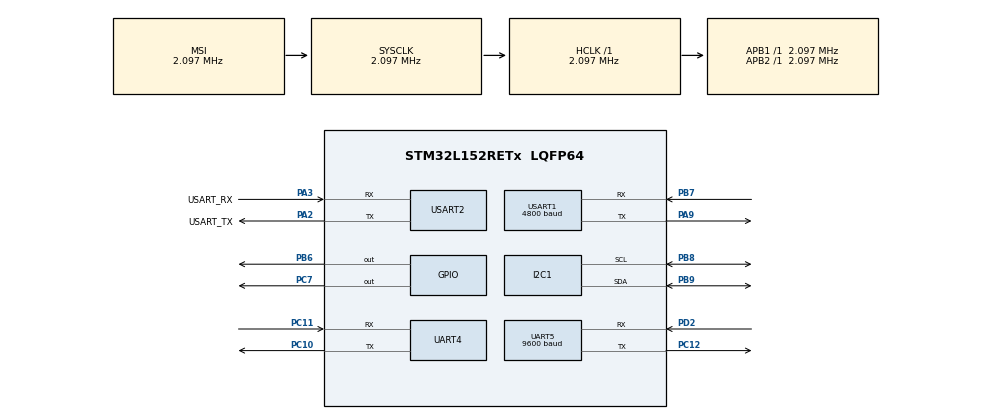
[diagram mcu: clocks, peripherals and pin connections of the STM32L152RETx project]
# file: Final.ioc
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Dma.Request0=UART4_RX
Dma.Request1=USART1_RX
Dma.UART4_RX.0.Direction=DMA_PERIPH_TO_MEMORY
Dma.UART4_RX.0.Instance=DMA2_Channel3
Dma.UART4_RX.0.MemDataAlignment=DMA_MDATAALIGN_BYTE
Dma.UART4_RX.0.MemInc=DMA_MINC_ENABLE
Dma.UART4_RX.0.Mode=DMA_NORMAL
Dma.UART4_RX.0.PeriphDataAlignment=DMA_PDATAALIGN_BYTE
Dma.UART4_RX.0.PeriphInc=DMA_PINC_DISABLE
Dma.UART4_RX.0.Priority=DMA_PRIORITY_LOW
Dma.USART1_RX.1.Direction=DMA_PERIPH_TO_MEMORY
Dma.USART1_RX.1.Instance=DMA1_Channel5
Dma.USART1_RX.1.MemDataAlignment=DMA_MDATAALIGN_BYTE
Dma.USART1_RX.1.MemInc=DMA_MINC_ENABLE
Dma.USART1_RX.1.Mode=DMA_NORMAL
Dma.USART1_RX.1.PeriphDataAlignment=DMA_PDATAALIGN_BYTE
Dma.USART1_RX.1.PeriphInc=DMA_PINC_DISABLE
Dma.USART1_RX.1.Priority=DMA_PRIORITY_LOW
Mcu.Family=STM32L1
Mcu.Name=STM32L152RETx
Mcu.Package=LQFP64
NVIC.DMA1_Channel5_IRQn=true\:0\:0\:false\:false\:true\:false
NVIC.DMA2_Channel3_IRQn=true\:0\:0\:false\:false\:true\:false
NVIC.I2C1_ER_IRQn=true\:0\:0\:false\:false\:true\:true
NVIC.I2C1_EV_IRQn=true\:0\:0\:false\:false\:true\:true
NVIC.PriorityGroup=NVIC_PRIORITYGROUP_0
NVIC.RTC_WKUP_IRQn=true\:0\:0\:false\:false\:true\:true
NVIC.UART4_IRQn=true\:0\:0\:false\:false\:true\:true
NVIC.UART5_IRQn=true\:0\:0\:false\:false\:true\:true
NVIC.USART1_IRQn=true\:0\:0\:false\:false\:true\:true
NVIC.USART2_IRQn=true\:0\:0\:false\:false\:true\:true
PA13.GPIO_Label=TMS
PA13.Signal=SYS_JTMS-SWDIO
PA14.GPIO_Label=TCK
PA14.Signal=SYS_JTCK-SWCLK
PA2.GPIO_Label=USART_TX
PA2.Mode=Asynchronous
PA2.Signal=USART2_TX
PA3.GPIO_Label=USART_RX
PA3.Mode=Asynchronous
PA3.Signal=USART2_RX
PA9.Mode=Asynchronous
PA9.Signal=USART1_TX
PB3.GPIO_Label=SWO
PB3.Signal=SYS_JTDO-TRACESWO
PB6.Signal=GPIO_Output
PB7.Mode=Asynchronous
PB7.Signal=USART1_RX
PB8.Mode=I2C
PB8.Signal=I2C1_SCL
PB9.Mode=I2C
PB9.Signal=I2C1_SDA
PC10.Mode=Asynchronous
PC10.Signal=UART4_TX
PC11.Mode=Asynchronous
PC11.Signal=UART4_RX
PC12.Mode=Asynchronous
PC12.Signal=UART5_TX
PC14-OSC32_IN.Signal=RCC_OSC32_IN
PC15-OSC32_OUT.Signal=RCC_OSC32_OUT
PC7.Signal=GPIO_Output
PD2.Mode=Asynchronous
PD2.Signal=UART5_RX
PH0-OSC_IN.Signal=RCC_OSC_IN
PH1-OSC_OUT.Signal=RCC_OSC_OUT
ProjectManager.HeapSize=0x200
ProjectManager.StackSize=0x400
ProjectManager.TargetToolchain=SW4STM32
RCC.48MHZClocksFreq_Value=48000000
RCC.AHBFreq_Value=2097000
RCC.APB1Freq_Value=2097000
RCC.APB1TimFreq_Value=2097000
RCC.APB2Freq_Value=2097000
RCC.APB2TimFreq_Value=2097000
RCC.HCLKFreq_Value=2097000
RCC.HSE_VALUE=8000000
RCC.HSI_VALUE=16000000
RCC.LSE_VALUE=32768
RCC.MSI_VALUE=2097000
RCC.PLLDIV=RCC_PLL_DIV3
RCC.PLLMUL=RCC_PLL_MUL6
RCC.RTCClockSelection=RCC_RTCCLKSOURCE_LSI
RCC.RTCClockSelectionVirtual=RCC_RTCCLKSOURCE_LSE
RCC.SYSCLKFreq_VALUE=2097000
RCC.USBOutput=48000000
RCC.VCOOutputFreq_Value=96000000
RTC.WakeUpCounter-WakeUp=23125
UART4.VirtualMode=Asynchronous
UART5.BaudRate=9600
UART5.VirtualMode=Asynchronous
USART1.BaudRate=4800
USART1.VirtualMode=VM_ASYNC
USART2.VirtualMode=VM_ASYNC
VP_RTC_VS_RTC_Activate.Mode=RTC_Enabled
VP_RTC_VS_RTC_Calendar.Mode=RTC_Calendar
VP_RTC_VS_RTC_WakeUp_intern.Mode=WakeUp
board=NUCLEO-L152RE

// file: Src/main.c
/**
  ******************************************************************************
  * File Name          : main.c
  * Description        : Main program body
  ******************************************************************************
  ** This notice applies to any and all portions of this file
  * that are not between comment pairs USER CODE BEGIN and
  * USER CODE END. Other portions of this file, whether
  * inserted by the user or by software development tools
  * are owned by their respective copyright owners.
  *
  * COPYRIGHT(c) 2018 STMicroelectronics
  *
  * Redistribution and use in source and binary forms, with or without modification,
  * are permitted provided that the following conditions are met:
  *   1. Redistributions of source code must retain the above copyright notice,
  *      this list of conditions and the following disclaimer.
  *   2. Redistributions in binary form must reproduce the above copyright notice,
  *      this list of conditions and the following disclaimer in the documentation
  *      and/or other materials provided with the distribution.
  *   3. Neither the name of STMicroelectronics nor the names of its contributors
  *      may be used to endorse or promote products derived from this software
  *      without specific prior written permission.
  *
  * THIS SOFTWARE IS PROVIDED BY THE COPYRIGHT HOLDERS AND CONTRIBUTORS "AS IS"
  * AND ANY EXPRESS OR IMPLIED WARRANTIES, INCLUDING, BUT NOT LIMITED TO, THE
  * IMPLIED WARRANTIES OF MERCHANTABILITY AND FITNESS FOR A PARTICULAR PURPOSE ARE
  * DISCLAIMED. IN NO EVENT SHALL THE COPYRIGHT HOLDER OR CONTRIBUTORS BE LIABLE
  * FOR ANY DIRECT, INDIRECT, INCIDENTAL, SPECIAL, EXEMPLARY, OR CONSEQUENTIAL
  * DAMAGES (INCLUDING, BUT NOT LIMITED TO, PROCUREMENT OF SUBSTITUTE GOODS OR
  * SERVICES; LOSS OF USE, DATA, OR PROFITS; OR BUSINESS INTERRUPTION) HOWEVER
  * CAUSED AND ON ANY THEORY OF LIABILITY, WHETHER IN CONTRACT, STRICT LIABILITY,
  * OR TORT (INCLUDING NEGLIGENCE OR OTHERWISE) ARISING IN ANY WAY OUT OF THE USE
  * OF THIS SOFTWARE, EVEN IF ADVISED OF THE POSSIBILITY OF SUCH DAMAGE.
  *
  ******************************************************************************
  */

#include "main.h"
#include "stm32l1xx_hal.h"

/* USER CODE BEGIN Includes */
#include <string.h>
#include <stdio.h>
#include <stdlib.h>
#include <math.h>
#include "enumerations.h"
#include "constants.h"
#include "structures.h"
#include "macros.h"
#define NSERDEBUG // comment to turn on serial debug over UART2
#define NCOMPASS // comment to turn on compass data retrieval
/* USER CODE END Includes */

I2C_HandleTypeDef hi2c1;

RTC_HandleTypeDef hrtc;

UART_HandleTypeDef huart4;
UART_HandleTypeDef huart5;
UART_HandleTypeDef huart1;
UART_HandleTypeDef huart2;
DMA_HandleTypeDef hdma_uart4_rx;
DMA_HandleTypeDef hdma_usart1_rx;

/* USER CODE BEGIN PV */
/* Private variables ---------------------------------------------------------*/
static volatile uint8_t TRANSMITTING = 0;
static int32_t hardIronFault[] = {0, 0, 0};

//Variables used for LoRaWAN

//Variables used for contextswitching
static volatile OutdoorSensorState outdoorSensorState = disabled;/**<contains the outdoor state*/
static volatile uint8_t dash7Cmd [101] = "";/**<buffer that can store 2 Dash7 commands*/
static volatile uint8_t D7DMABfr [101] = "";/**<buffer used to double buffer the Dash7 command*/

//Variables used for GPS and LoRaWAN
static volatile LoRaWANState loRaWANState = startup;/**<contains the LoRaWAN state*/
static char AT_return_code[7] = "";/**<buffer that stores the AT return codes from the LoRaWAN module*/
static uint8_t loRaWANSendCmdAndData[37] = "";/**<AT send cmd + LoRaWANGPSdata = 31 bytes (including null terminator)*/
static uint8_t LoRaWANGPSdata[27] = "00;00.0000|000;00.0000|0.0";/**<LoRaWAN GPS data latitude|longitude|HDOP*/
static volatile uint8_t loRaWANStateTransition = 0;/**<gets set to 1 when the LoRaWAN FSM may change state*/
static volatile uint8_t LoRaWAN10SecCnter = 0;/**<counts 10 seconds so flags can be set at other intervals eg 30, 60 seconds*/
static volatile uint8_t GPSdata[153] = "";/**<buffers raw GPS data, is as large as 2 whole commands*/
static volatile uint8_t GPSDMABfr[153] = "";/**<used to double buffer the raw GPS data*/
static volatile uint8_t GPSLock = 0;/**<used to prevent access when double buffer is being read*/
static volatile uint8_t GPSdataArrived = 0;/**<Set to 1 when raw GPS data is available */
static volatile uint8_t LoRaWANdataArrived = 0;/**<Set to 1 when a LoRaWAN return code is received*/
static volatile uint8_t D7dataArrived = 0;/**<Set to 1 when a command is received over Dash7*/
static volatile uint8_t enableGPS = 0;/**<Set to 1 when the GPS module may be enabled*/
static volatile uint8_t newLoRaWANData = 0;/**<Set to 1 when new, valid GPS data is parsed from the raw GPS data*/

/* USER CODE END PV */

void SystemClock_Config(void);
static void MX_GPIO_Init(void);
static void MX_DMA_Init(void);
static void MX_I2C1_Init(void);
static void MX_UART4_Init(void);
static void MX_UART5_Init(void);
static void MX_USART1_UART_Init(void);
static void MX_USART2_UART_Init(void);
static void MX_RTC_Init(void);

/* USER CODE BEGIN PFP */
/* Private function prototypes -----------------------------------------------*/
static int64_t twosComplementToSignedInteger(uint32_t rawValue,SignBitIndex sbi);
static uint8_t unsolicitedResponseTX(uint8_t* data, uint8_t dataLength);
static UnsolicitedResponseTail buildTail(UnsolicitedResponseType urt);
static UnsolicitedResponseTail mergeTails(UnsolicitedResponseTail firstTail,UnsolicitedResponseTail secondTail);
static CompassData getCompassData();
static BarometerData getBarometerData();
static MagnetometerData getMagnetometerData();
static AccelerometerData getAccelerometerData();
static void get_m_axes(int32_t *pData);
static void get_m_axes_raw(int16_t *pData);
static void get_a_axes(int32_t *pData);
static void get_a_axes_raw(int16_t *pData);
static void enterStopMode(uint32_t regulator);
static void enterSleepMode(uint32_t regulator);
static void getHardIronFault();
static uint8_t joinLoRaWANnetwork();
static uint8_t transmitLoRaWANData(uint8_t*);
static uint8_t verifyLoRaNetworkjoin();
static void outdoorSensorFSM();
static void uart1DMAConfig();
static void uart1DMAStart();
static void uart4DMAConfig();
static void uart4DMAStart();
static void GPSParsing();
static void LoRaWANParsing();
static void D7Parsing();
static void GPSState();
/* USER CODE END PFP */

int main(void)
{

  /* MCU Configuration----------------------------------------------------------*/

  /* Reset of all peripherals, Initializes the Flash interface and the Systick. */
  HAL_Init();

  /* Configure the system clock */
  SystemClock_Config();

  /* Initialize all configured peripherals */
  MX_GPIO_Init();
  MX_DMA_Init();
  MX_I2C1_Init();
  MX_UART4_Init();
  MX_UART5_Init();
  MX_USART1_UART_Init();
  MX_USART2_UART_Init();
  MX_RTC_Init();

  /* USER CODE BEGIN 2 */
#if defined(NCOMPASS) && defined(NSERDEBUG)
  HAL_UART_DeInit(&huart2);
#endif

  HAL_PWREx_EnableLowPowerRunMode();

  /* configure DMA for UART 1*/
  uart1DMAConfig();
  uart1DMAStart();
  uart4DMAConfig();
  uart4DMAStart();

  uint8_t REG_VALUE = LPS22HB_ODR_1HZ;
  HAL_I2C_Mem_Write(&hi2c1,LPS22HB_ADDR,LPS22HB_CTRL_REG1,I2C_MEMADD_SIZE_8BIT,&REG_VALUE,1,HAL_MAX_DELAY);
  while(HAL_I2C_IsDeviceReady(&hi2c1,LPS22HB_ADDR,1,HAL_MAX_DELAY) != HAL_OK);

  /*
   * In continuous mode the device continuously performs measurements and places the result
   * in the data register.The data-ready signal is generated when a new data set is ready to
   * be read. When the SOFT_RST bit is set, the configuration registers and user registers
   * are reset but flash registers keep their values. In idle mode, only I2C and SPI are active.
   * Furthermore we enable the low power mode.
   */
  REG_VALUE = LSM303_MAG_SOFT_RST | LSM303_MAG_LPEN | LSM303_MAG_ODR_10HZ | LSM303_MAG_MD_IDLE;
  HAL_I2C_Mem_Write(&hi2c1,LSM303_MAG_ADDR,LSM303_MAG_CFG_REGA,I2C_MEMADD_SIZE_8BIT,&REG_VALUE,1,HAL_MAX_DELAY);
  while (HAL_I2C_IsDeviceReady(&hi2c1,LSM303_MAG_ADDR,1,HAL_MAX_DELAY) != HAL_OK);

  REG_VALUE = LSM303_MAG_LPF;
  HAL_I2C_Mem_Write(&hi2c1,LSM303_MAG_ADDR,LSM303_MAG_CFG_REGB,I2C_MEMADD_SIZE_8BIT,&REG_VALUE,1,HAL_MAX_DELAY);
  while (HAL_I2C_IsDeviceReady(&hi2c1,LSM303_MAG_ADDR,1,HAL_MAX_DELAY) != HAL_OK);

  /*
   * If BDU is enabled, reading of incorrect data is avoided when the user reads asynchronously.
   * In fact if the read request arrives during an update of the output data, a latch is
   * possible, reading incoherent high and low parts of the same register. Only one part is
   * updated and the other one remains old.
   */
  REG_VALUE = LSM303_MAG_BDU;
  HAL_I2C_Mem_Write(&hi2c1,LSM303_MAG_ADDR,LSM303_MAG_CFG_REGC,I2C_MEMADD_SIZE_8BIT,&REG_VALUE,1,HAL_MAX_DELAY);
  while (HAL_I2C_IsDeviceReady(&hi2c1,LSM303_MAG_ADDR,1,HAL_MAX_DELAY) != HAL_OK);

  HAL_Delay(10); // ACC startup time < 5ms

  REG_VALUE = LSM303_ACC_PWR_DWN | LSM303_ACC_XYZEN | LSM303_ACC_LPEN;
  HAL_I2C_Mem_Write(&hi2c1,LSM303_ACC_ADDR,LSM303_ACC_CTRL_REG1,I2C_MEMADD_SIZE_8BIT,&REG_VALUE,1,HAL_MAX_DELAY);
  while (HAL_I2C_IsDeviceReady(&hi2c1,LSM303_ACC_ADDR,1,HAL_MAX_DELAY) != HAL_OK);

  REG_VALUE = LSM303_ACC_I1_DRDY2;
  HAL_I2C_Mem_Write(&hi2c1,LSM303_ACC_ADDR,LSM303_ACC_CTRL_REG3,I2C_MEMADD_SIZE_8BIT,&REG_VALUE,1,HAL_MAX_DELAY);
  while (HAL_I2C_IsDeviceReady(&hi2c1,LSM303_ACC_ADDR,1,HAL_MAX_DELAY) != HAL_OK);

  REG_VALUE = LSM303_ACC_BDU | LSM303_ACC_FS_2G;
  HAL_I2C_Mem_Write(&hi2c1,LSM303_ACC_ADDR,LSM303_ACC_CTRL_REG4,I2C_MEMADD_SIZE_8BIT,&REG_VALUE,1,HAL_MAX_DELAY);
  while (HAL_I2C_IsDeviceReady(&hi2c1,LSM303_ACC_ADDR,1,HAL_MAX_DELAY) != HAL_OK);

  REG_VALUE = LSM303_ACC_BOOT;
  HAL_I2C_Mem_Write(&hi2c1,LSM303_ACC_ADDR,LSM303_ACC_CTRL_REG5,I2C_MEMADD_SIZE_8BIT,&REG_VALUE,1,HAL_MAX_DELAY);
  while (HAL_I2C_IsDeviceReady(&hi2c1,LSM303_ACC_ADDR,1,HAL_MAX_DELAY) != HAL_OK);

  HAL_Delay(10); // wait for changes to take effect

#ifndef NCOMPASS
  getHardIronFault();
#endif
  /* USER CODE END 2 */

  /* Infinite loop */
  while (1)
  {

  /* USER CODE BEGIN 3 */
	  enterSleepMode(PWR_LOWPOWERREGULATOR_ON);
	  HAL_PWREx_EnableLowPowerRunMode();
#ifndef NSERDEBUG
	  HAL_UART_Transmit(&huart2, "looping...\r\n", strlen("looping...\r\n"), HAL_MAX_DELAY);
#endif
	  GPSParsing();
	  GPSState();
	  LoRaWANParsing();
	  D7Parsing();
	  outdoorSensorFSM();
	  if (TRANSMITTING) {
		  UnsolicitedResponseTail firstTail = buildTail(BAROMETER_FRAME);
		  UnsolicitedResponseTail secondTail = buildTail(MAGNETOMETER_FRAME);
		  UnsolicitedResponseTail thirdTail = buildTail(ACCELEROMETER_FRAME);
#ifndef NCOMPASS
		  UnsolicitedResponseTail fourthTail = buildTail(COMPASS_FRAME);
		  UnsolicitedResponseTail tail = mergeTails(mergeTails(firstTail,secondTail),mergeTails(thirdTail,fourthTail));
#else
		  UnsolicitedResponseTail tail = mergeTails(mergeTails(firstTail,secondTail),thirdTail);
#endif
		  unsolicitedResponseTX(tail.data,tail.dataLength);
		  TRANSMITTING = 0;
	  }
  }
  /* USER CODE END 3 */

}

/** System Clock Configuration
*/
void SystemClock_Config(void)
{

  RCC_OscInitTypeDef RCC_OscInitStruct;
  RCC_ClkInitTypeDef RCC_ClkInitStruct;
  RCC_PeriphCLKInitTypeDef PeriphClkInit;

    /**Configure the main internal regulator output voltage
    */
  __HAL_PWR_VOLTAGESCALING_CONFIG(PWR_REGULATOR_VOLTAGE_SCALE1);

    /**Initializes the CPU, AHB and APB busses clocks
    */
  RCC_OscInitStruct.OscillatorType = RCC_OSCILLATORTYPE_LSI|RCC_OSCILLATORTYPE_MSI;
  RCC_OscInitStruct.LSIState = RCC_LSI_ON;
  RCC_OscInitStruct.MSIState = RCC_MSI_ON;
  RCC_OscInitStruct.MSICalibrationValue = 0;
  RCC_OscInitStruct.MSIClockRange = RCC_MSIRANGE_5;
  RCC_OscInitStruct.PLL.PLLState = RCC_PLL_NONE;
  if (HAL_RCC_OscConfig(&RCC_OscInitStruct) != HAL_OK)
  {
    _Error_Handler(__FILE__, __LINE__);
  }

    /**Initializes the CPU, AHB and APB busses clocks
    */
  RCC_ClkInitStruct.ClockType = RCC_CLOCKTYPE_HCLK|RCC_CLOCKTYPE_SYSCLK
                              |RCC_CLOCKTYPE_PCLK1|RCC_CLOCKTYPE_PCLK2;
  RCC_ClkInitStruct.SYSCLKSource = RCC_SYSCLKSOURCE_MSI;
  RCC_ClkInitStruct.AHBCLKDivider = RCC_SYSCLK_DIV1;
  RCC_ClkInitStruct.APB1CLKDivider = RCC_HCLK_DIV1;
  RCC_ClkInitStruct.APB2CLKDivider = RCC_HCLK_DIV1;

  if (HAL_RCC_ClockConfig(&RCC_ClkInitStruct, FLASH_LATENCY_0) != HAL_OK)
  {
    _Error_Handler(__FILE__, __LINE__);
  }

  PeriphClkInit.PeriphClockSelection = RCC_PERIPHCLK_RTC;
  PeriphClkInit.RTCClockSelection = RCC_RTCCLKSOURCE_LSI;
  if (HAL_RCCEx_PeriphCLKConfig(&PeriphClkInit) != HAL_OK)
  {
    _Error_Handler(__FILE__, __LINE__);
  }

    /**Configure the Systick interrupt time
    */
  HAL_SYSTICK_Config(HAL_RCC_GetHCLKFreq()/1000);

    /**Configure the Systick
    */
  HAL_SYSTICK_CLKSourceConfig(SYSTICK_CLKSOURCE_HCLK);

  /* SysTick_IRQn interrupt configuration */
  HAL_NVIC_SetPriority(SysTick_IRQn, 0, 0);
}

/* I2C1 init function */
static void MX_I2C1_Init(void)
{

  hi2c1.Instance = I2C1;
  hi2c1.Init.ClockSpeed = 100000;
  hi2c1.Init.DutyCycle = I2C_DUTYCYCLE_2;
  hi2c1.Init.OwnAddress1 = 0;
  hi2c1.Init.AddressingMode = I2C_ADDRESSINGMODE_7BIT;
  hi2c1.Init.DualAddressMode = I2C_DUALADDRESS_DISABLE;
  hi2c1.Init.OwnAddress2 = 0;
  hi2c1.Init.GeneralCallMode = I2C_GENERALCALL_DISABLE;
  hi2c1.Init.NoStretchMode = I2C_NOSTRETCH_DISABLE;
  if (HAL_I2C_Init(&hi2c1) != HAL_OK)
  {
    _Error_Handler(__FILE__, __LINE__);
  }

}

/* RTC init function */
static void MX_RTC_Init(void)
{

  RTC_TimeTypeDef sTime;
  RTC_DateTypeDef sDate;

    /**Initialize RTC Only
    */
  hrtc.Instance = RTC;
  hrtc.Init.HourFormat = RTC_HOURFORMAT_24;
  hrtc.Init.AsynchPrediv = 127;
  hrtc.Init.SynchPrediv = 255;
  hrtc.Init.OutPut = RTC_OUTPUT_DISABLE;
  hrtc.Init.OutPutPolarity = RTC_OUTPUT_POLARITY_HIGH;
  hrtc.Init.OutPutType = RTC_OUTPUT_TYPE_OPENDRAIN;
  if (HAL_RTC_Init(&hrtc) != HAL_OK)
  {
    _Error_Handler(__FILE__, __LINE__);
  }

    /**Initialize RTC and set the Time and Date
    */
  if(HAL_RTCEx_BKUPRead(&hrtc, RTC_BKP_DR0) != 0x32F2){
  sTime.Hours = 0x0;
  sTime.Minutes = 0x0;
  sTime.Seconds = 0x0;
  sTime.DayLightSaving = RTC_DAYLIGHTSAVING_NONE;
  sTime.StoreOperation = RTC_STOREOPERATION_RESET;
  if (HAL_RTC_SetTime(&hrtc, &sTime, RTC_FORMAT_BCD) != HAL_OK)
  {
    _Error_Handler(__FILE__, __LINE__);
  }

  sDate.WeekDay = RTC_WEEKDAY_MONDAY;
  sDate.Month = RTC_MONTH_JANUARY;
  sDate.Date = 0x1;
  sDate.Year = 0x0;

  if (HAL_RTC_SetDate(&hrtc, &sDate, RTC_FORMAT_BCD) != HAL_OK)
  {
    _Error_Handler(__FILE__, __LINE__);
  }

    HAL_RTCEx_BKUPWrite(&hrtc,RTC_BKP_DR0,0x32F2);
  }
    /**Enable the WakeUp
    */
  if (HAL_RTCEx_SetWakeUpTimer_IT(&hrtc, 23125, RTC_WAKEUPCLOCK_RTCCLK_DIV16) != HAL_OK)
  {
    _Error_Handler(__FILE__, __LINE__);
  }

}

/* UART4 init function */
static void MX_UART4_Init(void)
{

  huart4.Instance = UART4;
  huart4.Init.BaudRate = 115200;
  huart4.Init.WordLength = UART_WORDLENGTH_8B;
  huart4.Init.StopBits = UART_STOPBITS_1;
  huart4.Init.Parity = UART_PARITY_NONE;
  huart4.Init.Mode = UART_MODE_TX_RX;
  huart4.Init.HwFlowCtl = UART_HWCONTROL_NONE;
  huart4.Init.OverSampling = UART_OVERSAMPLING_16;
  if (HAL_UART_Init(&huart4) != HAL_OK)
  {
    _Error_Handler(__FILE__, __LINE__);
  }

}

/* UART5 init function */
static void MX_UART5_Init(void)
{

  huart5.Instance = UART5;
  huart5.Init.BaudRate = 9600;
  huart5.Init.WordLength = UART_WORDLENGTH_8B;
  huart5.Init.StopBits = UART_STOPBITS_1;
  huart5.Init.Parity = UART_PARITY_NONE;
  huart5.Init.Mode = UART_MODE_TX_RX;
  huart5.Init.HwFlowCtl = UART_HWCONTROL_NONE;
  huart5.Init.OverSampling = UART_OVERSAMPLING_16;
  if (HAL_UART_Init(&huart5) != HAL_OK)
  {
    _Error_Handler(__FILE__, __LINE__);
  }

}

/* USART1 init function */
static void MX_USART1_UART_Init(void)
{

  huart1.Instance = USART1;
  huart1.Init.BaudRate = 4800;
  huart1.Init.WordLength = UART_WORDLENGTH_8B;
  huart1.Init.StopBits = UART_STOPBITS_1;
  huart1.Init.Parity = UART_PARITY_NONE;
  huart1.Init.Mode = UART_MODE_TX_RX;
  huart1.Init.HwFlowCtl = UART_HWCONTROL_NONE;
  huart1.Init.OverSampling = UART_OVERSAMPLING_16;
  if (HAL_UART_Init(&huart1) != HAL_OK)
  {
    _Error_Handler(__FILE__, __LINE__);
  }

}

/* USART2 init function */
static void MX_USART2_UART_Init(void)
{

  huart2.Instance = USART2;
  huart2.Init.BaudRate = 115200;
  huart2.Init.WordLength = UART_WORDLENGTH_8B;
  huart2.Init.StopBits = UART_STOPBITS_1;
  huart2.Init.Parity = UART_PARITY_NONE;
  huart2.Init.Mode = UART_MODE_TX_RX;
  huart2.Init.HwFlowCtl = UART_HWCONTROL_NONE;
  huart2.Init.OverSampling = UART_OVERSAMPLING_16;
  if (HAL_UART_Init(&huart2) != HAL_OK)
  {
    _Error_Handler(__FILE__, __LINE__);
  }

}

static void MX_DMA_Init(void)
{
  /* DMA controller clock enable */
  __HAL_RCC_DMA2_CLK_ENABLE();
  __HAL_RCC_DMA1_CLK_ENABLE();

  /* DMA interrupt init */
  /* DMA1_Channel5_IRQn interrupt configuration */
  HAL_NVIC_SetPriority(DMA1_Channel5_IRQn, 0, 0);
  HAL_NVIC_EnableIRQ(DMA1_Channel5_IRQn);
  /* DMA2_Channel3_IRQn interrupt configuration */
  HAL_NVIC_SetPriority(DMA2_Channel3_IRQn, 0, 0);
  HAL_NVIC_EnableIRQ(DMA2_Channel3_IRQn);

}

/** Configure pins as
        * Analog
        * Input
        * Output
        * EVENT_OUT
        * EXTI
        * Free pins are configured automatically as Analog (this feature is enabled through
        * the Code Generation settings)
*/
static void MX_GPIO_Init(void)
{

  GPIO_InitTypeDef GPIO_InitStruct;

  /* GPIO Ports Clock Enable */
  __HAL_RCC_GPIOC_CLK_ENABLE();
  __HAL_RCC_GPIOH_CLK_ENABLE();
  __HAL_RCC_GPIOA_CLK_ENABLE();
  __HAL_RCC_GPIOB_CLK_ENABLE();
  __HAL_RCC_GPIOD_CLK_ENABLE();

  /*Configure GPIO pin Output Level */
  HAL_GPIO_WritePin(GPIOC, GPIO_PIN_7, GPIO_PIN_RESET);

  /*Configure GPIO pin Output Level */
  HAL_GPIO_WritePin(GPIOB, GPIO_PIN_6, GPIO_PIN_RESET);

  /*Configure GPIO pins : PC13 PC0 PC1 PC2
                           PC3 PC4 PC5 PC6
                           PC8 PC9 */
  GPIO_InitStruct.Pin = GPIO_PIN_13|GPIO_PIN_0|GPIO_PIN_1|GPIO_PIN_2
                          |GPIO_PIN_3|GPIO_PIN_4|GPIO_PIN_5|GPIO_PIN_6
                          |GPIO_PIN_8|GPIO_PIN_9;
  GPIO_InitStruct.Mode = GPIO_MODE_ANALOG;
  GPIO_InitStruct.Pull = GPIO_NOPULL;
  HAL_GPIO_Init(GPIOC, &GPIO_InitStruct);

  /*Configure GPIO pins : PA0 PA1 PA4 PA5
                           PA6 PA7 PA8 PA10
                           PA11 PA12 PA15 */
  GPIO_InitStruct.Pin = GPIO_PIN_0|GPIO_PIN_1|GPIO_PIN_4|GPIO_PIN_5
                          |GPIO_PIN_6|GPIO_PIN_7|GPIO_PIN_8|GPIO_PIN_10
                          |GPIO_PIN_11|GPIO_PIN_12|GPIO_PIN_15;
  GPIO_InitStruct.Mode = GPIO_MODE_ANALOG;
  GPIO_InitStruct.Pull = GPIO_NOPULL;
  HAL_GPIO_Init(GPIOA, &GPIO_InitStruct);

  /*Configure GPIO pins : PB0 PB1 PB2 PB10
                           PB11 PB12 PB13 PB14
                           PB15 PB4 PB5 */
  GPIO_InitStruct.Pin = GPIO_PIN_0|GPIO_PIN_1|GPIO_PIN_2|GPIO_PIN_10
                          |GPIO_PIN_11|GPIO_PIN_12|GPIO_PIN_13|GPIO_PIN_14
                          |GPIO_PIN_15|GPIO_PIN_4|GPIO_PIN_5;
  GPIO_InitStruct.Mode = GPIO_MODE_ANALOG;
  GPIO_InitStruct.Pull = GPIO_NOPULL;
  HAL_GPIO_Init(GPIOB, &GPIO_InitStruct);

  /*Configure GPIO pin : PC7 */
  GPIO_InitStruct.Pin = GPIO_PIN_7;
  GPIO_InitStruct.Mode = GPIO_MODE_OUTPUT_PP;
  GPIO_InitStruct.Pull = GPIO_NOPULL;
  GPIO_InitStruct.Speed = GPIO_SPEED_FREQ_LOW;
  HAL_GPIO_Init(GPIOC, &GPIO_InitStruct);

  /*Configure GPIO pin : PB6 */
  GPIO_InitStruct.Pin = GPIO_PIN_6;
  GPIO_InitStruct.Mode = GPIO_MODE_OUTPUT_PP;
  GPIO_InitStruct.Pull = GPIO_NOPULL;
  GPIO_InitStruct.Speed = GPIO_SPEED_FREQ_LOW;
  HAL_GPIO_Init(GPIOB, &GPIO_InitStruct);

}

/* USER CODE BEGIN 4 */
/**
 * @brief Sets the global hard iron offset.
 *
 * In order to get the hard iron offset you need to perform a pretzel
 * like motion with the LSM303 sensor in order to cover as much points
 * in space as possible.
 */
static void getHardIronFault() {
	int32_t mag_temp[3] = {0, 0, 0};
	int32_t mag_max[3] = {-2147483647, -2147483647, -2147483647};
	int32_t mag_min[3] = {2147483647, 2147483647, 2147483647};

	// start calibration by pressing s key
	uint8_t temp[1];
	do
		HAL_UART_Receive(&huart2,temp,1,HAL_MAX_DELAY);
	while (*temp != 0x73);

	char message[255];
	sprintf(message, "Calibration started.\r\n");
	HAL_UART_Transmit(&huart2, (uint8_t *) message, strlen(message), HAL_MAX_DELAY);

	for(uint16_t i = 0; i < 300; ++i) {
		get_m_axes(mag_temp);
		for (int j = 0; j < 3; ++j) {
			if(mag_temp[j] > mag_max[j]) mag_max[j] = mag_temp[j];
			if(mag_temp[j] < mag_min[j]) mag_min[j] = mag_temp[j];
		}
		HAL_Delay(100);
	}

	hardIronFault[X] = (mag_max[X] + mag_min[X]) / 2;
	hardIronFault[Y] = (mag_max[Y] + mag_min[Y]) / 2;
	hardIronFault[Z] = (mag_max[Z] + mag_min[Z]) / 2;

	sprintf(message, "Calibration is done!\r\n");
	HAL_UART_Transmit(&huart2, (uint8_t *) message, strlen(message), HAL_MAX_DELAY);

#ifdef NSERDEBUG
	HAL_UART_DeInit(&huart2);
#endif
}

/**
 * @brief Transmit an unsolicited response over the D7 interface.
 *
 * In order to transmit a message over the D7 RF link a serial frame is built
 * containing all necessary information for the receiving D7 modem in order
 * to propagate (a part of) said frame over the D7 RF link.
 *
 * @param data Pointer to data buffer, will be freed.
 * @param dataLength Amount of bytes in data buffer.
 * @return Returns 1 if successful and 0 otherwise.
 */
static uint8_t unsolicitedResponseTX(uint8_t* data, uint8_t dataLength) {
	if ((dataLength + 1 + sizeof(UNSOLICITED_RESPONSE_BASE)) <= MESSAGE_MAX_LEN) {
		// Memory allocated with malloc never loses scope until forcefully freed or program termination occurs.
		uint8_t* unsollicitedResponse = (uint8_t*) malloc((dataLength + 1 + sizeof(UNSOLICITED_RESPONSE_BASE)) * sizeof(uint8_t));

		/*
		 * UNSOLICITED_RESPONSE_BASE is a pointer to a memory location for a partially fixed
		 * preamble that is the same for all unsolicited responses. Only the ALP cmd length
		 * byte needs to be modified to accommodate the yet unknown data length. The cmd length
		 * byte is the sixth byte, hence the ternary operator. 0x0B is the length of the remaining
		 * preamble bytes and 1 byte is needed for the data length byte.
		 */
		for (uint8_t i = 0; i < sizeof(UNSOLICITED_RESPONSE_BASE); ++i)
			unsollicitedResponse[i] = ((i == 6) ? (0x0B + 1 + dataLength) : (UNSOLICITED_RESPONSE_BASE[i]));

		// set the datalength byte
		unsollicitedResponse[sizeof(UNSOLICITED_RESPONSE_BASE)] = dataLength;

		// fill the remaining bytes with data
		for (uint8_t i = 0; i < dataLength; ++i)
			unsollicitedResponse[sizeof(UNSOLICITED_RESPONSE_BASE) + 1 + i] = data[i];
		free(data);

		HAL_UART_Transmit(&huart4, unsollicitedResponse, dataLength + 1 + sizeof(UNSOLICITED_RESPONSE_BASE),HAL_MAX_DELAY);
		free(unsollicitedResponse);

		return 1;
	}
	return 0;
}

/**
 * @brief Builds a frame tail.
 *
 * Since the preamble of an unsollicited response is always identical (except for the
 * ALP cmd length byte) one can simply add a different tail to the preamble. In order
 * to do that several types of frames where defined.
 *
 * @param urt Enumeration indicating the frame (tail) type.
 * @return Returns a frame tail structure containing data and length.
 * @note The data pointer needs to be freed after transmission.
 */
static UnsolicitedResponseTail buildTail(UnsolicitedResponseType urt) {
	/*
	 * Memory allocated with malloc never loses scope until it is forcefully freed using
	 * the free function or when the program terminates. Therefore a pointer to this memory
	 * location is passed as a return value so it can be freed later (after use).
	 */
	uint8_t* data = (uint8_t*) malloc((MESSAGE_MAX_LEN - sizeof(UNSOLICITED_RESPONSE_BASE)) * sizeof(uint8_t));
	uint8_t dataLength = 0;
	UnsolicitedResponseTail tail = {data,dataLength};
	int32_t magData[3];
	int32_t accData[3];
	double compData[3];
	BarometerData barometerData;
	MagnetometerData magnetometerData;
	AccelerometerData accelerometerData;
	CompassData compassData;

	switch (urt) {
		case FLOOD_FRAME:
			dataLength = sizeof(FLOOD_TAIL);
			realloc(data,dataLength);
			memcpy(data,FLOOD_TAIL,dataLength);
			break;
		case COMPASS_FRAME:
			compassData = getCompassData();
			compData[0] = compassData.pitch;
			compData[1] = compassData.roll;
			compData[2] = compassData.yaw;
			dataLength = sizeof(compData);
			realloc(data,dataLength);
			memcpy(data,compData,dataLength);
			break;
		case BAROMETER_FRAME:
			barometerData = getBarometerData();
			dataLength = sizeof(barometerData.pressure);
			realloc(data,dataLength);
			memcpy(data,&barometerData.pressure,dataLength);
			break;
		case MAGNETOMETER_FRAME:
			magnetometerData = getMagnetometerData();
			magData[0] = magnetometerData.xValue;
			magData[1] = magnetometerData.yValue;
			magData[2] = magnetometerData.zValue;
			dataLength = sizeof(magData);
			realloc(data,dataLength);
			memcpy(data,magData,dataLength);
			break;
		case ACCELEROMETER_FRAME:
			accelerometerData = getAccelerometerData();
			accData[0] = accelerometerData.xValue;
			accData[1] = accelerometerData.yValue;
			accData[2] = accelerometerData.zValue;
			dataLength = sizeof(accData);
			realloc(data,dataLength);
			memcpy(data,accData,dataLength);
			break;
		case TEMPERATURE_FRAME:
			barometerData = getBarometerData();
			dataLength = sizeof(barometerData.temperature);
			realloc(data,dataLength);
			memcpy(data,&barometerData.temperature,dataLength);
			break;
		default:
			break;
	}
	tail.data = data;
	tail.dataLength = dataLength;
	return tail;
}

/**
 * @brief Merges two frame tails and returns a new one.
 */
static UnsolicitedResponseTail mergeTails(UnsolicitedResponseTail firstTail,UnsolicitedResponseTail secondTail) {
	UnsolicitedResponseTail tempTail;
	// memory allocated with malloc never loses scope until it is forcefully freed
	uint8_t* tempData = malloc((firstTail.dataLength+1+secondTail.dataLength));
	memcpy(tempData,firstTail.data,firstTail.dataLength);
	memcpy(tempData+firstTail.dataLength,&TAIL_SEPARATOR,1);
	memcpy(tempData+firstTail.dataLength+1,secondTail.data,secondTail.dataLength);
	free(firstTail.data);
	free(secondTail.data);
	tempTail.data = tempData;
	tempTail.dataLength = firstTail.dataLength+1+secondTail.dataLength;
	return tempTail;
}

/**
 * @brief Converts a two's complement number to a signed integer.
 * @param sbi Position of sign bit in @p rawValue
 * @param rawValue Unsigned integer containing two's complement number.
 * @return Returns a signed integer.
 */
int64_t twosComplementToSignedInteger(uint32_t rawValue,SignBitIndex sbi) {
	switch (sbi) {
		case TWOS_COMPLEMENT_24_BIT:
		{
			if ((rawValue & 0x00800000) == 0)
				return (rawValue & 0x00FFFFFF);
			return ((int64_t)(~((rawValue & 0x00FFFFFF) - 1))) * -1;
		}
		case TWOS_COMPLEMENT_16_BIT:
		{
			if ((rawValue & 0x00008000) == 0)
				return (rawValue & 0x0000FFFF);
			return ((int64_t)(~((rawValue & 0x0000FFFF) - 1))) * -1;
		}
		default:
			return NAN;
	}
}

/**
 * @brief Get pressure and temperature data from LPS22HB barometer.
 */
static BarometerData getBarometerData() {
	uint8_t rawSensorData[5];
	BarometerData barometerData;
	HAL_I2C_Mem_Read(&hi2c1,0xBA,0x28,I2C_MEMADD_SIZE_8BIT,rawSensorData,5,HAL_MAX_DELAY);

	uint32_t pressureTwosComplement = (rawSensorData[2] << 16) | (rawSensorData[1] << 8) | rawSensorData[0];
	int64_t pressureRaw = twosComplementToSignedInteger(pressureTwosComplement,TWOS_COMPLEMENT_24_BIT);
	barometerData.pressure = (int32_t)(pressureRaw/4096);

	uint32_t temperatureTwosComplement = (rawSensorData[4] << 8) | rawSensorData[3];
	int64_t temperatureRaw = twosComplementToSignedInteger(temperatureTwosComplement,TWOS_COMPLEMENT_16_BIT);
	barometerData.temperature = (int32_t)(temperatureRaw/100);

	return barometerData;
}

/**
 * @brief Get yaw, pitch and roll from compass.
 * @note Although mostly complete, this code is still very much under construction.
 */
static CompassData getCompassData() {
	double temp[] = {0.0,0.0,0.0};
	int32_t magData[] = {0,0,0};
	int32_t accData[] = {0,0,0};
	MagnetometerData magnetometerData;
	AccelerometerData accelerometerData;
	CompassData compassData;
	double pitch = 0;
	double roll = 0;
	double yaw = 0;
	double degrees = 0;

	accelerometerData = getAccelerometerData();
	accData[0] = accelerometerData.xValue;
	accData[1] = accelerometerData.yValue;
	accData[2] = accelerometerData.zValue;

	magnetometerData = getMagnetometerData();
	magData[0] = magnetometerData.xValue;
	magData[1] = magnetometerData.yValue;
	magData[2] = magnetometerData.zValue;

	roll = atan2((float)accData[Y],accData[Z]); // phi
	temp[0] = magData[Y] * cos(roll) - magData[Z] * sin(roll);
	temp[1] = magData[Y] * sin(roll) + magData[Z] * cos(roll);
	temp[2] = accData[Y] * sin(roll) + accData[Z] * cos(roll);
	//pitch = atan((-1 * accData[X]) / temp[2]); // theta
	pitch = atan2(accData[X] , temp[2]); // theta

#ifndef NSERDEBUG
	char message[255];
	sprintf(message, "Pitch: %6lf\t Roll: %6lf\r\n", pitch, roll);
	HAL_UART_Transmit(&huart2, (uint8_t *) message, strlen(message), HAL_MAX_DELAY);
#endif

	//Determining the compass heading
	temp[2] = magData[X] * cos(pitch) + temp[1] * sin(pitch);
	temp[1] = (-1 * magData[X]) * sin(pitch) + temp[1] * cos(pitch);
	yaw = atan2(-1 * temp[0], temp[2]); // psi
	degrees = yaw * 57.2958; // 180/PI = 57.2958

#ifndef NSERDEBUG
	//Obtaining wind direction
	if(degrees > 360) degrees -= 360;
	if(degrees < 0) degrees += 360;

	sprintf(message, "Degrees: %6lf\r\n", degrees);
	HAL_UART_Transmit(&huart2, (uint8_t *) message, strlen(message), HAL_MAX_DELAY);

	// every 45� degrees indicates another direction
	if(degrees > 22.5 && degrees < 67.5)
		sprintf(message, "Direction: North-East\r\n");
	else if(degrees > 67.5 && degrees < 112.5)
		sprintf(message, "Direction: East\r\n");
	else if(degrees > 112.5 && degrees < 157.5)
		sprintf(message, "Direction: South-East\r\n");
	else if(degrees > 157.5 && degrees < 202.5)
		sprintf(message, "Direction: South\r\n");
	else if(degrees > 202.5 && degrees < 247.5)
		sprintf(message, "Direction: South-West\r\n");
	else if(degrees > 247.5 && degrees < 292.5)
		sprintf(message, "Direction: West\r\n");
	else if(degrees > 292.5 && degrees < 337.25)
		sprintf(message, "Direction: North-West\r\n");
	else if(degrees > 337.25 || degrees < 22.5)
		sprintf(message, "Direction: North\r\n");

	HAL_UART_Transmit(&huart2, (uint8_t *) message, strlen(message), HAL_MAX_DELAY);
#endif

	compassData.pitch = pitch;
	compassData.roll = roll;
	compassData.yaw = yaw;
	return compassData;
}

/**
 * @brief Get compensated data from magnetometer
 *
 * If the hard iron fault was previously set using the appropriate function
 * the data obtained will be automatically compensated with said offsets.
 * Otherwise an offset of 0 is deducted, which equals no correction.
 */
static MagnetometerData getMagnetometerData() {
	int32_t axes_m[3];
	get_m_axes(axes_m);
	MagnetometerData magnetometerData;
	magnetometerData.xValue = axes_m[0] - hardIronFault[X];
	magnetometerData.yValue = axes_m[1] - hardIronFault[Y];
	magnetometerData.zValue = axes_m[2] - hardIronFault[Z];
	return magnetometerData;
}

/**
 * @brief Get data from accelerometer.
 */
static AccelerometerData getAccelerometerData() {
	int32_t axes_a[3];
	get_a_axes(axes_a);
	AccelerometerData accelerometerData;
	accelerometerData.xValue = axes_a[0];
	accelerometerData.yValue = axes_a[1];
	accelerometerData.zValue = axes_a[2];
	return accelerometerData;
}

/**
 * @brief Get signed and uncompensated axes data from magnetometer.
 * @param pData Pointer to memory location to which the signed axes data is to be written.
 */
static void get_m_axes(int32_t *pData) {
	int16_t pDataRaw[3];

	get_m_axes_raw(pDataRaw);

	// multiply by 1.5 through addition and shift right
	pData[0] = (int32_t) (pDataRaw[0] + (pDataRaw[0] >> 1));
	pData[1] = (int32_t) (pDataRaw[1] + (pDataRaw[1] >> 1));
	pData[2] = (int32_t) (pDataRaw[2] + (pDataRaw[2] >> 1));
}

/**
 * @brief Get raw access data in twos complement
 * @param pData Pointer to memory location to which the raw axes data is to be written.
 */
static void get_m_axes_raw(int16_t *pData) {
	uint8_t status[1];
	uint8_t regValue[6] = {[0 ... 5] = 0};
	int16_t *regValueInt16;

	// turn on magnetometer
	uint8_t REG_VALUE = LSM303_MAG_LPEN | LSM303_MAG_ODR_10HZ | LSM303_MAG_MD_CON;
	HAL_I2C_Mem_Write(&hi2c1,LSM303_MAG_ADDR,LSM303_MAG_CFG_REGA,I2C_MEMADD_SIZE_8BIT,&REG_VALUE,1,HAL_MAX_DELAY);
	while (HAL_I2C_IsDeviceReady(&hi2c1,LSM303_MAG_ADDR,1,HAL_MAX_DELAY) != HAL_OK);

	// wait until new data is available
	do
		HAL_I2C_Mem_Read(&hi2c1,LSM303_MAG_ADDR,LSM303_MAG_SREG,I2C_MEMADD_SIZE_8BIT,status,1,100);
	while(!CHECK_BIT(*status,LSM303_MAG_XYZDA));

	// turn off magnetometer
	REG_VALUE = LSM303_MAG_LPEN | LSM303_MAG_ODR_10HZ | LSM303_MAG_MD_IDLE;
	HAL_I2C_Mem_Write(&hi2c1,LSM303_MAG_ADDR,LSM303_MAG_CFG_REGA,I2C_MEMADD_SIZE_8BIT,&REG_VALUE,1,HAL_MAX_DELAY);
	while (HAL_I2C_IsDeviceReady(&hi2c1,LSM303_MAG_ADDR,1,HAL_MAX_DELAY) != HAL_OK);

	// read registers
	HAL_I2C_Mem_Read(&hi2c1,LSM303_MAG_ADDR,LSM303_MAG_X_L,I2C_MEMADD_SIZE_8BIT,&regValue[0],1,100);
	HAL_I2C_Mem_Read(&hi2c1,LSM303_MAG_ADDR,LSM303_MAG_X_H,I2C_MEMADD_SIZE_8BIT,&regValue[1],1,100);
	HAL_I2C_Mem_Read(&hi2c1,LSM303_MAG_ADDR,LSM303_MAG_Y_L,I2C_MEMADD_SIZE_8BIT,&regValue[2],1,100);
	HAL_I2C_Mem_Read(&hi2c1,LSM303_MAG_ADDR,LSM303_MAG_Y_H,I2C_MEMADD_SIZE_8BIT,&regValue[3],1,100);
	HAL_I2C_Mem_Read(&hi2c1,LSM303_MAG_ADDR,LSM303_MAG_Z_L,I2C_MEMADD_SIZE_8BIT,&regValue[4],1,100);
	HAL_I2C_Mem_Read(&hi2c1,LSM303_MAG_ADDR,LSM303_MAG_Z_H,I2C_MEMADD_SIZE_8BIT,&regValue[5],1,100);

	regValueInt16 = (int16_t *)regValue;

	pData[0] = regValueInt16[0];
	pData[1] = regValueInt16[1];
	pData[2] = regValueInt16[2];
}

static void get_a_axes(int32_t *pData) {
	int16_t pDataRaw[3];

	get_a_axes_raw(pDataRaw);

	pData[0] = (int32_t) (((pDataRaw[0] >> 8) * LSM303_ACC_SENSITIVITY[2][0] + 500) / 1000);
	pData[1] = (int32_t) (((pDataRaw[1] >> 8) * LSM303_ACC_SENSITIVITY[2][0] + 500) / 1000);
	pData[2] = (int32_t) (((pDataRaw[2] >> 8) * LSM303_ACC_SENSITIVITY[2][0] + 500) / 1000);
}

static void get_a_axes_raw(int16_t *pData) {
	uint8_t status[1];
	uint8_t regValue[6] = {[0 ... 5] = 0};
	int16_t regValueInt16[3] = {[0 ... 2] = 0};

	// turn on accelerometer
	uint8_t REG_VALUE = LSM303_ACC_ODR_1HZ | LSM303_ACC_XYZEN | LSM303_ACC_LPEN;
	HAL_I2C_Mem_Write(&hi2c1,LSM303_ACC_ADDR,LSM303_ACC_CTRL_REG1,I2C_MEMADD_SIZE_8BIT,&REG_VALUE,1,HAL_MAX_DELAY);
	while (HAL_I2C_IsDeviceReady(&hi2c1,LSM303_ACC_ADDR,1,HAL_MAX_DELAY) != HAL_OK);

	do
		HAL_I2C_Mem_Read(&hi2c1,LSM303_ACC_ADDR,LSM303_ACC_SREG,I2C_MEMADD_SIZE_8BIT,status,1,100);
	while(!CHECK_BIT(*status,LSM303_ACC_XYZDA));

	// turn off accelerometer
	REG_VALUE = LSM303_ACC_PWR_DWN | LSM303_ACC_XYZEN | LSM303_ACC_LPEN;
	HAL_I2C_Mem_Write(&hi2c1,LSM303_ACC_ADDR,LSM303_ACC_CTRL_REG1,I2C_MEMADD_SIZE_8BIT,&REG_VALUE,1,HAL_MAX_DELAY);
	while (HAL_I2C_IsDeviceReady(&hi2c1,LSM303_ACC_ADDR,1,HAL_MAX_DELAY) != HAL_OK);

	HAL_I2C_Mem_Read(&hi2c1,LSM303_ACC_ADDR,LSM303_ACC_X_L,I2C_MEMADD_SIZE_8BIT,&regValue[0],1,100);
	HAL_I2C_Mem_Read(&hi2c1,LSM303_ACC_ADDR,LSM303_ACC_X_H,I2C_MEMADD_SIZE_8BIT,&regValue[1],1,100);
	HAL_I2C_Mem_Read(&hi2c1,LSM303_ACC_ADDR,LSM303_ACC_Y_L,I2C_MEMADD_SIZE_8BIT,&regValue[2],1,100);
	HAL_I2C_Mem_Read(&hi2c1,LSM303_ACC_ADDR,LSM303_ACC_Y_H,I2C_MEMADD_SIZE_8BIT,&regValue[3],1,100);
	HAL_I2C_Mem_Read(&hi2c1,LSM303_ACC_ADDR,LSM303_ACC_Z_L,I2C_MEMADD_SIZE_8BIT,&regValue[4],1,100);
	HAL_I2C_Mem_Read(&hi2c1,LSM303_ACC_ADDR,LSM303_ACC_Z_H,I2C_MEMADD_SIZE_8BIT,&regValue[5],1,100);

	regValueInt16[0] = (regValue[1] << 8) | regValue[0];
	regValueInt16[1] = (regValue[3] << 8) | regValue[2];
	regValueInt16[2] = (regValue[5] << 8) | regValue[4];

	pData[0] = regValueInt16[0];
	pData[1] = regValueInt16[1];
	pData[2] = regValueInt16[2];
}

/**
 * @brief Enter stop mode.
 *
 * This function suspends the systick interrupt generation and enters
 * stop mode with a WFI instruction. The type of stop mode can be
 * configured by passing the desired state of the main regulator. When
 * the device wakes up because an interrupt occured, the systick is
 * enabled once again and this function returns.
 *
 * @param regulator Desired state of main regulator.
 */
static void enterStopMode(uint32_t regulator) {
	HAL_SuspendTick();
	__HAL_RCC_PWR_CLK_ENABLE();
	HAL_PWR_EnterSTOPMode(regulator, PWR_SLEEPENTRY_WFI);
	HAL_ResumeTick();
}

/**
 * @brief Enter sleep mode.
 *
 * This function suspends the systick interrupt generation and enters
 * sleep mode with a WFI instruction. The type of sleep mode can be
 * configured by passing the desired state of the main regulator. When
 * the device wakes up because an interrupt occured, the systick is
 * enabled once again and this function returns.
 *
 * @param regulator Desired state of main regulator.
 */
static void enterSleepMode(uint32_t regulator) {
	HAL_SuspendTick();
	__HAL_RCC_PWR_CLK_ENABLE();
	HAL_PWR_EnterSLEEPMode(regulator, PWR_SLEEPENTRY_WFI);
	HAL_ResumeTick();
}

/**
 * @brief Callback of the RTC wake-up timer interrupt.
 */
void HAL_RTCEx_WakeUpTimerEventCallback(RTC_HandleTypeDef *hrtc) {
	if(!TRANSMITTING) TRANSMITTING = 1;
	++LoRaWAN10SecCnter;
	if(outdoorSensorState == enabled)
		enableGPS = LoRaWAN10SecCnter%6 == 0 ? 1 : enableGPS;
	if(!loRaWANStateTransition) loRaWANStateTransition = 1;
}

/**
 * @brief Transmit AT+JOIN command to LoRaWAN modem and sets up receive of return value
 *
 * This function issues the AT+JOIN command to the LoRaWAN modem, prompting it to join
 * the LoRaWAN network. An interrupt driven receive is started to receive the response
 * of the modem.
 *
 * @return 0 is always returned
 */
static uint8_t joinLoRaWANnetwork(){
		__HAL_UART_FLUSH_DRREGISTER(&huart5);
		HAL_UART_Receive_IT(&huart5, (uint8_t*)AT_return_code,6);
		HAL_UART_Transmit(&huart5, (uint8_t*)AT_join_cmd, strlen(AT_join_cmd), HAL_MAX_DELAY);
		return 0;
}

/**
 * @brief Transmit AT+NJS=? command to LoRaWAN modem and sets up receive of return value
 *
 * This function issues the AT+NJS command to the LoRaWAN modem, prompting it to return
 * the network status. An interrupt driven receive is started to receive the reponse of
 * the modem.
 *
 * @return 0 is always returned
 */
static uint8_t verifyLoRaNetworkjoin(){
		__HAL_UART_FLUSH_DRREGISTER(&huart5);
		HAL_UART_Receive_IT(&huart5, (uint8_t*)AT_return_code, 3);
		HAL_UART_Transmit(&huart5, (uint8_t*)AT_NJS_cmd, strlen(AT_NJS_cmd), HAL_MAX_DELAY);
		return 0;
}

/**
 * @brief Transmits AT+SEND command including data to LoRaWAN modem
 *
 * This function issues the AT+SEND command with data to the LoRaWAN modem, prompting it to
 * send a message with the included data.
 *
 * @param data The data to be transmitted
 * @return 0 is always returned
 */
static uint8_t transmitLoRaWANData(uint8_t* data){
		/*if (loRaWANSendCmdAndData != NULL)
			free(loRaWANSendCmdAndData);
		loRaWANSendCmdAndData = (char*)malloc((strlen(data)+strlen(AT_SEND_cmd)+2)*sizeof(char));
		strncpy(loRaWANSendCmdAndData, AT_SEND_cmd, 10);
		strncpy(&loRaWANSendCmdAndData[10], data, strlen(data));
		strcpy(&loRaWANSendCmdAndData[strlen(data)+strlen(AT_SEND_cmd)], "\r\n");

		This ^malloc method was equally correct, however when debugging I thought it was the cause of
		trouble so I rewrote this. It wasn't the cause though.
		*/
		strcpy(loRaWANSendCmdAndData, AT_SEND_cmd);
		strcpy(&loRaWANSendCmdAndData[strlen(AT_SEND_cmd)], data);
		strcpy(&loRaWANSendCmdAndData[strlen(AT_SEND_cmd)+strlen(data)], "\r\n");
		__HAL_UART_FLUSH_DRREGISTER(&huart5);
		HAL_UART_Transmit(&huart5, loRaWANSendCmdAndData, strlen(loRaWANSendCmdAndData), HAL_MAX_DELAY);
		return 0;
}

/**
 * @brief FSM for the Outdoor State, states: disabled, enabled, enabling, disabling
 *
 * Switch statement that executes functions depending on the current outdoor state.
 * disbabled: do nothing
 * enabled: Run through LoRaWAN FSM
 * enabling: enable LoRaWAN module and GPS
 * disabled: disbale LoRaWAN module and GPS
 *
 */
static void outdoorSensorFSM() {

	switch (outdoorSensorState) {
	case disabled:
		break;
	case enabled:
		if (loRaWANStateTransition == 1) {
			switch (loRaWANState) {
			case startup:
				loRaWANState = joining_network; //set state to joining network
#ifndef NSERDEBUG
				HAL_UART_Transmit(&huart2, "starting connection\n\r", strlen("starting connection\n"), HAL_MAX_DELAY);
#endif
				break;
			case joining_network:
#ifndef NSERDEBUG
				HAL_UART_Transmit(&huart2, "trying to join network\n\r", strlen("trying to joing network\n\r"), HAL_MAX_DELAY);
#endif
				joinLoRaWANnetwork();
				break;
			case verify_network_join:
#ifndef NSERDEBUG
				HAL_UART_Transmit(&huart2, "verifying network join\n", strlen("verifying network join\n\r"), HAL_MAX_DELAY);
#endif
				verifyLoRaNetworkjoin();
				break;
			case joined_network:
#ifndef NSERDEBUG
				HAL_UART_Transmit(&huart2, "transmitting data\n\r", strlen("transmitting data\n\r"), HAL_MAX_DELAY);
#endif
				loRaWANState = tx_rx;
				break;
			case tx_rx:
				// newLoRaWANData is true when valid GPS data has been parsed. Occurs at most once every 60 seconds
				if (newLoRaWANData) {
					transmitLoRaWANData(LoRaWANGPSdata);
					newLoRaWANData = 0;
				}
			default:
				break;
			}
			loRaWANStateTransition = 0;
		}
		break;
	case enabling:
#ifndef NSERDEBUG
		HAL_UART_Transmit_IT(&huart2, "enabling outdoor\r\n", strlen("enabling outdoor\r\n"));
#endif
		/*Configure GPIO pin Output Level high, turn on GPS */
		enableGPS = 1;
		GPSState();

		/*Configure GPIO pin Output Level high, turn on LoRaWAN module */
		HAL_GPIO_WritePin(GPIOB, GPIO_PIN_6, GPIO_PIN_SET);

		outdoorSensorState = enabled;
		break;
	case disabling:
		/*Configure GPIO pin Output Level high, turn on GPS */
		;
		enableGPS = 0;
		GPSState();

		/*Configure GPIO pin Output Level high, turn on LoRaWAN module */
		HAL_GPIO_WritePin(GPIOB, GPIO_PIN_6, GPIO_PIN_RESET);

		loRaWANState = startup;
		outdoorSensorState = disabled;
		break;
	default:
		break;
	}

}

/**
 * @brief UART Rx complete callback, called when an interrupt or DMA Rx completes
 *
 * This function is called when an interrupt or DMA Uart receive operation completes.
 * Depending on the uart that generated the callback, different flags are set.
 *
 * @param UartHandle pointer to interrupt generating uart
 */
void HAL_UART_RxCpltCallback(UART_HandleTypeDef *UartHandle){
	//callback on receive complete, might be usefull later on
	if (UartHandle == &huart2){
		//insert code here
	} else if(UartHandle == &huart5){
		LoRaWANdataArrived = 1;
	} else if(UartHandle == &huart4){
		__HAL_UART_FLUSH_DRREGISTER(&huart4);// flush whatever is in the registers by now, must do to prevent overrun
		memcpy(dash7Cmd, D7DMABfr, 100);// copy content to new buffer
		D7dataArrived = 1;// mark data as arrived
	} else if(UartHandle == &huart1){
		__HAL_UART_FLUSH_DRREGISTER(&huart1);// flush DDR to prevent overrun while we execute the next two commands
		if(!GPSLock){
			memcpy(GPSdata, GPSDMABfr, 152);// copy content to new buffer
			GPSdataArrived = 1;// mark data as arrived
		}
	} else {
		//insert code here
	}

}

/**
 * @brief uart1 DMA configuration, configures the DMA as circular
 *
 * This function configures the DMA reception of data for uart1 (GPS).
 */
static void uart1DMAConfig(){
	//Configure the DMA1 Channel 5, which is wired to the UART2_RX request line
	hdma_usart1_rx.Instance = DMA1_Channel5;
	hdma_usart1_rx.Init.Direction = DMA_PERIPH_TO_MEMORY;
	hdma_usart1_rx.Init.PeriphInc = DMA_PINC_DISABLE;
	hdma_usart1_rx.Init.MemInc = DMA_MINC_ENABLE;
	hdma_usart1_rx.Init.PeriphDataAlignment = DMA_PDATAALIGN_BYTE;
	hdma_usart1_rx.Init.MemDataAlignment = DMA_MDATAALIGN_BYTE;
	hdma_usart1_rx.Init.Mode = DMA_CIRCULAR;
	hdma_usart1_rx.Init.Priority = DMA_PRIORITY_LOW;
	HAL_DMA_Init(&hdma_usart1_rx);

	//Link the DMA descriptor to the UART2 one
	__HAL_LINKDMA(&huart1, hdmarx, hdma_usart1_rx);

	/* DMA interrupt init */

	/* Peripheral interrupt init */
	HAL_NVIC_SetPriority(USART1_IRQn, 0, 0);
	HAL_NVIC_EnableIRQ(USART1_IRQn);
}

/**
 * @brief starts circular DMA reception of data on uart 1.
 *
 * This function starts circular DMA reception of data on uart 1.
 * Data is written to GPSDMABfr.
 */
static void uart1DMAStart(){
	HAL_UART_Receive_DMA(&huart1, GPSDMABfr, 152);
}

/**
 * @brief uart4 DMA configuration, configures the DMA as circular
 *
 * This function configures the DMA reception of data for uart4 (Dash7).
 */
static void uart4DMAConfig(){
	hdma_uart4_rx.Instance = DMA2_Channel3;
	hdma_uart4_rx.Init.Direction = DMA_PERIPH_TO_MEMORY;
	hdma_uart4_rx.Init.PeriphInc = DMA_PINC_DISABLE;
	hdma_uart4_rx.Init.MemInc = DMA_MINC_ENABLE;
	hdma_uart4_rx.Init.PeriphDataAlignment = DMA_PDATAALIGN_BYTE;
	hdma_uart4_rx.Init.MemDataAlignment = DMA_MDATAALIGN_BYTE;
	hdma_uart4_rx.Init.Mode = DMA_CIRCULAR;
	hdma_uart4_rx.Init.Priority = DMA_PRIORITY_LOW;
	HAL_DMA_Init(&hdma_uart4_rx);

	__HAL_LINKDMA(&huart4, hdmarx, hdma_uart4_rx);

	HAL_NVIC_SetPriority(UART4_IRQn, 0,0);
	HAL_NVIC_EnableIRQ(UART4_IRQn);
}

/**
 * @brief starts circular DMA reception of data on uart 4.
 *
 * This function starts circular DMA reception of data on uart 4.
 * Data is written to GPSDMABfr.
 */
static void uart4DMAStart(){
	HAL_UART_Receive_DMA(&huart4, D7DMABfr, 100);
}

/**
 * @brief parses incoming GPS data for latitude, longitude and HDOP
 *
 * When data is received by the DMA controller and the buffer is full,
 * it gets copied to a different buffer and this function can be executed
 * as GPSdataArrived flag will be set. The function parses the raw GPS data
 * and formats the parsed data so it can be send over LoRaWAN. When valid data
 * has been parsed, the GPS module is turned off.
 */
static void GPSParsing(){
	if(GPSdataArrived == 1){
		GPSLock = 1;
		if(outdoorSensorState == enabled){
			//Variables to temporary hold latitude and longitude;
			uint8_t latitude[10] = "";
			uint8_t longitude[11] = "";
			uint8_t fixValid[2] = "";
			uint8_t satUsed[3] = "";
			uint8_t HDOP[4] = "";//unsure what the maximum HDOP is so I included one extra byte
			//find start of command
			uint8_t* startOfGPSFrame;
			startOfGPSFrame = strstr(GPSdata, "$GPGGA");
			//First verify if sequence is found, the GPS transmits a lot of data on startup so it is possible there is not frame
			if(startOfGPSFrame != NULL){
				//next, replace all occurences of \n and \r with \0, using strtok
				//reason being: when the GPS doesn't receive latitude and longitude, but it does receive a timesignal of sort, it transmits an incomplete frame
				//in the unlikely event that there is an A on what we parse as datavalid field, this will result in nullpointer errors, aka no good
				//this by replacing \n and \r with \0 we can later check if we received a complete frame of 51 bytes.
				uint8_t* tempptr = strtok(startOfGPSFrame, "\r\n");
				while (tempptr != NULL)
					tempptr = strtok(NULL, "\r\n");
				//next verify if an entire frame is captures, again, possible due to startup data that the start is captured, but not the entire frame
				//after startup these problems should be nonexistend as the buffer can contain 2 full frames, resulting in at least 1 whole frame at all times
				//however if the GPS sends incomplete frames due to missing data we mustn't parse them.
				if(strlen(startOfGPSFrame)>73){
					//now we need to tokenate this string, not all tokens are needed though, thus some are dropped, and the loop is unrolled to save a few cycles time
					uint8_t* startOfField;
					startOfField = strtok(startOfGPSFrame, ",");//the delimiter is ","
					//the first field returned is Message ID, is always $GPGGA, we checked for this earlier, we don't nee to save it
					startOfField = strtok(NULL, ",");
					//this field is UTC time, we don't need this so we can continue strtok calls
					startOfField = strtok(NULL, ",");//continue strtok calls
					//This field is latitude info, always in format ddmm.mmmm, copy in the temporary latitude string
					strcpy(latitude, startOfField);//strtok already replaced the "," with \0 thus I can use strcpy, memcpy would also be possible
					startOfField = strtok(NULL, ",");//continue strtok calls
					//This field is N/S field, due to Belgium being N, we don't need this
					startOfField = strtok(NULL, ",");//contiunue strtok calls
					//This field is longitude info, always in format dddmm.mmmm, copy in the temporary longitude string
					strcpy(longitude, startOfField);
					startOfField = strtok(NULL, ",");//continue strtok calls
					//This field is E/W indicator, due to belgium being E, we don't need this
					startOfField = strtok(NULL, ",");
					//This field is fix valid, we use this to check if the fix is valid
					strcpy(fixValid, startOfField);
					startOfField = strtok(NULL, ",");
					//this field is the satellites used field, we can store the amount of satellites here
					strcpy(satUsed, startOfField);
					startOfField = strtok(NULL, ",");
					//this field is the HDOP field, we send this to the backend for accuracy measurements
					strncpy(HDOP, startOfField, 3);//I'm unsure what values HDOP can take, I've never seen high values, yet  just to be sure I assume no more than 3 bytes
					//Remaining fields are not longer needed, thus we can stop strtokking here.

					//if the fix is valid we continue
					if(strcmp(fixValid, "1")==0 || strcmp(fixValid, "2")==0 || strcmp(fixValid, "6")==0){
						//Now we have the GPS data, but the . seperator is in the wrong position
						//We correct this when copying to GPS data for LoRaWAN
						//format is dd;mm;.mmmm|ddd;mm;.mmmm\0
						// but received format is ddmm.mmmm and dddmm.mmmm
						strncpy(LoRaWANGPSdata, latitude, 2);
						strncpy(&LoRaWANGPSdata[2], ";", 1);
						strcpy(&LoRaWANGPSdata[2+1], &latitude[2]);
						strcpy(&LoRaWANGPSdata[strlen(latitude)+1], "|");
						strncpy(&LoRaWANGPSdata[strlen(latitude)+1+1], longitude, 3);
						strncpy(&LoRaWANGPSdata[strlen(latitude)+1+1+3], ";", 1);
						strcpy(&LoRaWANGPSdata[strlen(latitude)+1+1+3+1], &longitude[3]);
						strcpy(&LoRaWANGPSdata[strlen(latitude)+strlen(longitude)+1+1+1], "|");
						strcpy(&LoRaWANGPSdata[strlen(latitude)+strlen(longitude)+1+1+1+1], HDOP);

						//now update that we have new data, and disable GPS module
						newLoRaWANData = 1;
						enableGPS = 0;
						GPSState();
					}
				}
			}
		}
		memset(GPSdata, 0, sizeof(GPSdata)/sizeof(uint8_t));//reset the double buffer to all 0
		GPSdataArrived = 0;//reset the data arrived flag
		GPSLock = 0;
	}
}

/**
 * @brief When joining the LoRaWAN network, the returning commands must be parsed here.
 *
 * When issueing commands to the LoRaWAN module, it can be of use to parse the returning
 * data from the LoRaWAN module. Depending on the last issued command, this function
 * parses this data and if the data is ok, the LoRaWAN FSM can transition to new states.
 */
static void LoRaWANParsing(){
	if(LoRaWANdataArrived == 1){
	switch(loRaWANState){
			case joining_network:
			//case wait_for_joining_network:
			//case joining_network:
				//HAL_UART_Transmit_IT(&huart2, AT_return_code, strlen(AT_return_code));
				if (strcmp(AT_return_code,"\r\nOK\r\n")==0){
					loRaWANState = verify_network_join;
					//if the command was unseccessful, it will be retried next main iteration
					//if the command was successful, we go to verification of network join
				}
				memset(AT_return_code, 0, sizeof(AT_return_code)/sizeof(char));
				//memset resets the AT_return_code
				break;
			case verify_network_join:
			//case wait_for_verify_network_join:
			//case verify_network_join:
				if (strcmp(AT_return_code,"1\r\n")==0){
					loRaWANState = joined_network;
					//if the return value of verify_network_join is 1, we joined the network
					//else the join has not been completed (but is in progress)
				}
				memset(AT_return_code, 0, sizeof(AT_return_code)/sizeof(char));
				//again, reset the AT_return_buffer after complete
				break;
			case joined_network: break;
			default: break;
			}
	LoRaWANdataArrived = 0;
	}
}

/**
 * @brief parses incoming Dash7 data for outdoor enable/disable commands
 *
 * When data is received from the DMA controller for the Dash7 module,
 * this data must be parsed as it may contain commands to turn on or off the
 * outdoor sensors. Because the Dash7 module sends \0 characters at times,
 * those are removed before parsing, as they would interfere with the C strstr
 * functionality.
 */
static void D7Parsing(){
	if(D7dataArrived == 1){
			//insert loop that replaces every occurence of \0 with 0x61 (small a)
			//trailing \0 is kept by only checking the first 100 chars, and not the last one
			for(int i = 0; i<100; i++){
				if (dash7Cmd[i]==0x00)
					dash7Cmd[i]=0x61;
			}
				if (strstr(dash7Cmd, "\x0A\x32\x81\x0D") != NULL){
					// /n 2 0b0000 0001 /r
					if(outdoorSensorState != enabled)
						outdoorSensorState = enabling;
				}
				if (strstr(dash7Cmd, "\x0A\x32\x80\x0D") != NULL){
					// /n 2 0b0000 0000 /r
					if (outdoorSensorState != disabled)
						outdoorSensorState = disabling;
				}

		#ifndef NSERDEBUG
				HAL_UART_Transmit_IT(&huart2, "received command", strlen("received command"));
		#endif
				//don't forget to clear the dash7Cmd and reinstate the waiting for incoming bytes
				memset(dash7Cmd, 0, sizeof(dash7Cmd)/sizeof(char));//reset  dash7cmd
				//HAL_UART_Receive_IT(&huart4, dash7Cmd, 15);//Start receive cycle again
				D7dataArrived = 0;
	}
}

/**
 * @brief enables the GPS module when the enableGPS flag is set, otherwise turns off GPS
 *
 * Enables the GPS module when the enableGPS flag is set, otherwise turns off GPS.
 */
static void GPSState(){
	if(enableGPS){
		HAL_GPIO_WritePin(GPIOC, GPIO_PIN_7, GPIO_PIN_SET);
	}
	else
		HAL_GPIO_WritePin(GPIOC, GPIO_PIN_7, GPIO_PIN_RESET);
}

/* USER CODE END 4 */

void _Error_Handler(char * file, int line)
{
  while(1)
  {
  }
}

/************************ (C) COPYRIGHT STMicroelectronics *****END OF FILE****/
